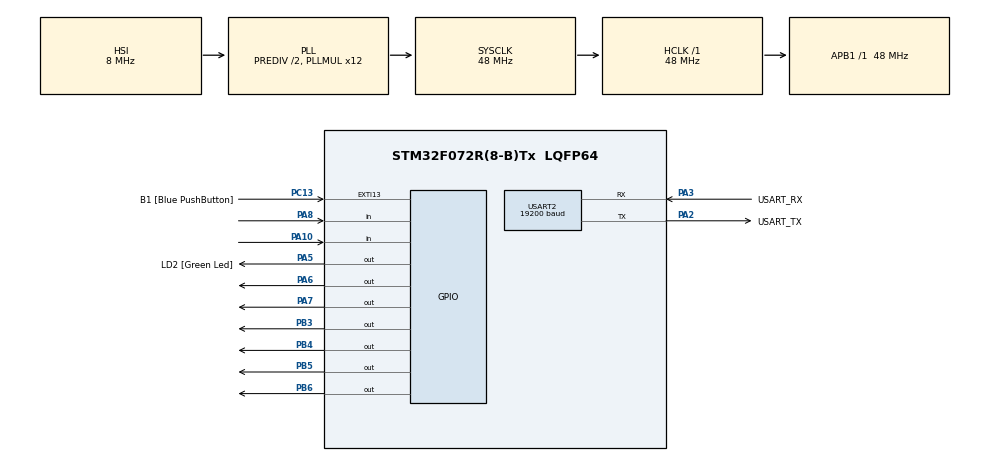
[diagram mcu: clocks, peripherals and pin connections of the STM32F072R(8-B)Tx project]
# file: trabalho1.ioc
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Mcu.Family=STM32F0
Mcu.Name=STM32F072R(8-B)Tx
Mcu.Package=LQFP64
PA10.Signal=GPIO_Input
PA13.GPIO_Label=TMS
PA13.Mode=Serial-WireDebug
PA13.Signal=SYS_SWDIO
PA14.GPIO_Label=TCK
PA14.Mode=Serial-WireDebug
PA14.Signal=SYS_SWCLK
PA2.GPIO_Label=USART_TX
PA2.GPIO_Mode=GPIO_MODE_AF_PP
PA2.GPIO_PuPd=GPIO_NOPULL
PA2.GPIO_Speed=GPIO_SPEED_LOW
PA2.Mode=Asynchronous
PA2.Signal=USART2_TX
PA3.GPIO_Label=USART_RX
PA3.GPIO_Mode=GPIO_MODE_AF_PP
PA3.GPIO_PuPd=GPIO_NOPULL
PA3.GPIO_Speed=GPIO_SPEED_LOW
PA3.Mode=Asynchronous
PA3.Signal=USART2_RX
PA5.GPIO_Label=LD2 [Green Led]
PA5.GPIO_Mode=GPIO_MODE_OUTPUT_PP
PA5.GPIO_PuPd=GPIO_NOPULL
PA5.GPIO_Speed=GPIO_SPEED_LOW
PA5.Signal=GPIO_Output
PA6.Signal=GPIO_Output
PA7.Signal=GPIO_Output
PA8.Signal=GPIO_Input
PB3.Signal=GPIO_Output
PB4.Signal=GPIO_Output
PB5.Signal=GPIO_Output
PB6.Signal=GPIO_Output
PC13.GPIO_Label=B1 [Blue PushButton]
PC13.GPIO_ModeDefaultEXTI=GPIO_MODE_EVT_RISING
PC13.Signal=GPXTI13
PC14-OSC32_IN.Signal=RCC_OSC32_IN
PC15-OSC32_OUT.Signal=RCC_OSC32_OUT
PF0-OSC_IN.Signal=RCC_OSC_IN
PF1-OSC_OUT.Signal=RCC_OSC_OUT
ProjectManager.TargetToolchain=MDK-ARM V5
RCC.AHBFreq_Value=48000000
RCC.APB1Freq_Value=48000000
RCC.APB1TimFreq_Value=48000000
RCC.FLatency-AdvancedSettings=FLASH_LATENCY_1
RCC.HCLKFreq_Value=48000000
RCC.PLLDivider=RCC_PREDIV_DIV2
RCC.PLLMUL=RCC_PLL_MUL12
RCC.SYSCLKFreq_VALUE=48000000
RCC.SYSCLKSource=RCC_SYSCLKSOURCE_PLLCLK
USART2.BaudRate=19200
USART2.WordLength=UART_WORDLENGTH_8B
board=NUCLEO-F072RB

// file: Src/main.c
/**
  ******************************************************************************
  * File Name          : main.c
  * Description        : Main program body
  ******************************************************************************
  *
  * COPYRIGHT(c) 2016 STMicroelectronics
  *
  * Redistribution and use in source and binary forms, with or without modification,
  * are permitted provided that the following conditions are met:
  *   1. Redistributions of source code must retain the above copyright notice,
  *      this list of conditions and the following disclaimer.
  *   2. Redistributions in binary form must reproduce the above copyright notice,
  *      this list of conditions and the following disclaimer in the documentation
  *      and/or other materials provided with the distribution.
  *   3. Neither the name of STMicroelectronics nor the names of its contributors
  *      may be used to endorse or promote products derived from this software
  *      without specific prior written permission.
  *
  * THIS SOFTWARE IS PROVIDED BY THE COPYRIGHT HOLDERS AND CONTRIBUTORS "AS IS"
  * AND ANY EXPRESS OR IMPLIED WARRANTIES, INCLUDING, BUT NOT LIMITED TO, THE
  * IMPLIED WARRANTIES OF MERCHANTABILITY AND FITNESS FOR A PARTICULAR PURPOSE ARE
  * DISCLAIMED. IN NO EVENT SHALL THE COPYRIGHT HOLDER OR CONTRIBUTORS BE LIABLE
  * FOR ANY DIRECT, INDIRECT, INCIDENTAL, SPECIAL, EXEMPLARY, OR CONSEQUENTIAL
  * DAMAGES (INCLUDING, BUT NOT LIMITED TO, PROCUREMENT OF SUBSTITUTE GOODS OR
  * SERVICES; LOSS OF USE, DATA, OR PROFITS; OR BUSINESS INTERRUPTION) HOWEVER
  * CAUSED AND ON ANY THEORY OF LIABILITY, WHETHER IN CONTRACT, STRICT LIABILITY,
  * OR TORT (INCLUDING NEGLIGENCE OR OTHERWISE) ARISING IN ANY WAY OUT OF THE USE
  * OF THIS SOFTWARE, EVEN IF ADVISED OF THE POSSIBILITY OF SUCH DAMAGE.
  *
  ******************************************************************************
  */
#include "stm32f0xx_hal.h"
#include "usart.h"
#include "gpio.h"

/* USER CODE BEGIN PV */
/* Private variables ---------------------------------------------------------*/

/* USER CODE END PV */

void SystemClock_Config(void);

/* USER CODE BEGIN PFP */
/* Private function prototypes -----------------------------------------------*/
void U2puts(char *txt);
void LCDputchar(int c);
void LCDcomando(int c);
void LCDinit();
void LCDputs(char *txt);
void pulsarEnable();
/* USER CODE END PFP */

/* USER CODE BEGIN 0 */
void pulsarEnable()
{
	GPIOA->BSRR = (1 << 6); /* Liga LCD_EN */
	__nop();
	__nop();
	GPIOA->BRR = (1 << 6); /* Desliga LCD_EN */
}

void LCDputchar(int c)
{
	HAL_Delay(5);
	GPIOB->BRR = (0x0f << 3); // Limpa bits 6, 5, 4 e 3. *"(0x0f << 3)" é equivalente a atribuir 0x78 a BRR.
	GPIOB->BSRR = (c >> 1) & (0x0f << 3); // Envia bits 7, 6, 5 e 4
	pulsarEnable();
	GPIOB->BRR = (0x0f << 3); // Limpa bits 6, 5, 4 e 3. *"(0x0f << 3)" é equivalente a atribuir 0x78 a BRR.
	GPIOB->BSRR = (c << 3) & (0x0f << 3); // Envia bits 3210
	pulsarEnable();
}

void LCDcomando(int c)
{
	HAL_Delay(4);
	GPIOA->BRR = (1 << 7); // LCD_RS = 0; => Comando
	LCDputchar(c);
	GPIOA->BSRR = (1 << 7); // LCD_rs = 1
}

void LCDinit()
{
	LCDcomando(0x28);
	LCDcomando(0x28); // Configura com interface de 4 bits
	LCDcomando(0x01); // Limpa LCC
	LCDcomando(0x0e); // Configura o cursor: 0x0c = oculto; 0x0e = _; 0x0f = bloco;
	/* Nota que da pra posicionar o cursor em qualquer parte do display:
		*------------------------------*
0x8	|0|1|2|...							 	 ...F|
0xC	|0|1|2|...								 ...F|
		*------------------------------*
	O padrão é 0x80 + coluna, sendo a coluna 1, 2, 3... até o limite. Para a linha
	de baixo é o mesmo raciocinio, mas com a constante 0xC0.*/
}

void LCDputs(char *txt)
{
	while(*txt) LCDputchar(*txt++);
}
/* USER CODE END 0 */

int main(void)
{

  /* MCU Configuration----------------------------------------------------------*/

  /* Reset of all peripherals, Initializes the Flash interface and the Systick. */
  HAL_Init();

  /* Configure the system clock */
  SystemClock_Config();

  /* Initialize all configured peripherals */
  MX_GPIO_Init();
  MX_USART2_UART_Init();

  /* USER CODE BEGIN 2 */

	U2puts("\r\nTeste da UART\r\n");

  /* USER CODE END 2 */

  /* Infinite loop */
  while (1)
  {
  /* USER CODE BEGIN 3 */
		U2puts("-x-");
		HAL_Delay(2000);
		LCDinit();
		LCDputs("Lab");
  }
  /* USER CODE END 3 */

}

/** System Clock Configuration
*/
void SystemClock_Config(void)
{

  RCC_OscInitTypeDef RCC_OscInitStruct;
  RCC_ClkInitTypeDef RCC_ClkInitStruct;
  RCC_PeriphCLKInitTypeDef PeriphClkInit;

  RCC_OscInitStruct.OscillatorType = RCC_OSCILLATORTYPE_HSI;
  RCC_OscInitStruct.HSIState = RCC_HSI_ON;
  RCC_OscInitStruct.HSICalibrationValue = 16;
  RCC_OscInitStruct.PLL.PLLState = RCC_PLL_ON;
  RCC_OscInitStruct.PLL.PLLSource = RCC_PLLSOURCE_HSI;
  RCC_OscInitStruct.PLL.PLLMUL = RCC_PLL_MUL12;
  RCC_OscInitStruct.PLL.PREDIV = RCC_PREDIV_DIV2;
  HAL_RCC_OscConfig(&RCC_OscInitStruct);

  RCC_ClkInitStruct.ClockType = RCC_CLOCKTYPE_SYSCLK;
  RCC_ClkInitStruct.SYSCLKSource = RCC_SYSCLKSOURCE_PLLCLK;
  RCC_ClkInitStruct.AHBCLKDivider = RCC_SYSCLK_DIV1;
  RCC_ClkInitStruct.APB1CLKDivider = RCC_HCLK_DIV1;
  HAL_RCC_ClockConfig(&RCC_ClkInitStruct, FLASH_LATENCY_1);

  PeriphClkInit.PeriphClockSelection = RCC_PERIPHCLK_USART2;
  PeriphClkInit.Usart2ClockSelection = RCC_USART2CLKSOURCE_PCLK1;
  HAL_RCCEx_PeriphCLKConfig(&PeriphClkInit);

  HAL_SYSTICK_Config(HAL_RCC_GetHCLKFreq()/1000);

  HAL_SYSTICK_CLKSourceConfig(SYSTICK_CLKSOURCE_HCLK);

  /* SysTick_IRQn interrupt configuration */
  HAL_NVIC_SetPriority(SysTick_IRQn, 0, 0);
}

/************************ (C) COPYRIGHT STMicroelectronics *****END OF FILE****/
